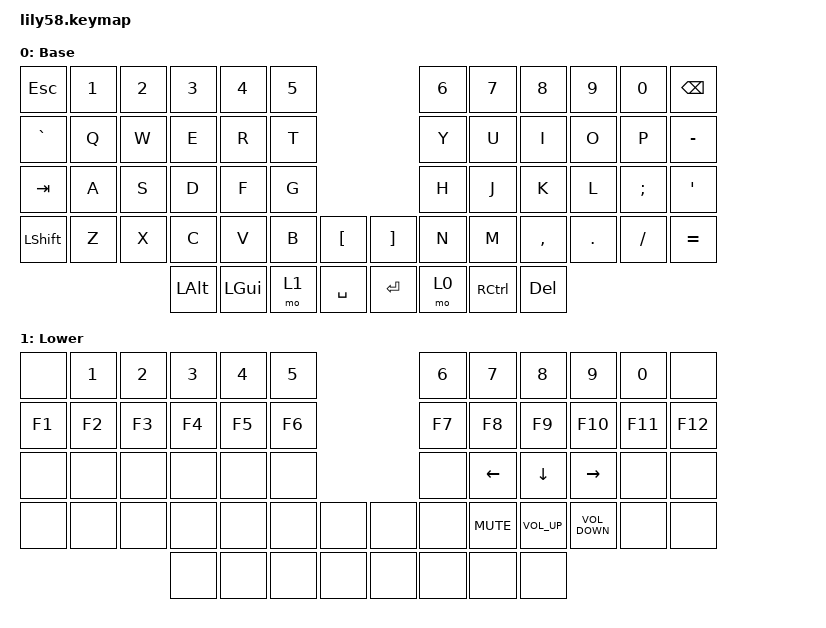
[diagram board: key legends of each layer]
/*
 * Copyright (c) 2020 The ZMK Contributors
 *
 * SPDX-License-Identifier: MIT
 */

#include <behaviors.dtsi>
#include <dt-bindings/zmk/keys.h>

/ {
    keymap {
        compatible = "zmk,keymap";

        main {
            // ------------------------------------------------------------------------------------------------------------
            // |  ESC  |  1  |  2  |  3   |  4   |  5   |                   |  6   |  7    |  8    |  9   |   0   |   `   |
            // |  TAB  |  Q  |  W  |  E   |  R   |  T   |                   |  Y   |  U    |  I    |  O   |   P   |   -   |
            // |  CTRL |  A  |  S  |  D   |  F   |  G   |                   |  H   |  J    |  K    |  L   |   ;   |   '   |
            // | SHIFT |  Z  |  X  |  C   |  V   |  B   |   "["  |  |  "]"  |  N   |  M    |  ,    |  .   |   /   | SHIFT |
            //                     | ALT  | GUI  | LOWER|  SPACE |  | ENTER | RAISE| BSPC  | GUI   |

            display-name = "Base";
            bindings = <
&kp ESC    &kp N1  &kp N2  &kp N3    &kp N4    &kp N5                         &kp N6  &kp N7     &kp N8      &kp N9   &kp N0    &kp BACKSPACE
&kp GRAVE  &kp Q   &kp W   &kp E     &kp R     &kp T                          &kp Y   &kp U      &kp I       &kp O    &kp P     &kp MINUS
&kp TAB    &kp A   &kp S   &kp D     &kp F     &kp G                          &kp H   &kp J      &kp K       &kp L    &kp SEMI  &kp SQT
&kp LSHFT  &kp Z   &kp X   &kp C     &kp V     &kp B   &kp LBKT     &kp RBKT  &kp N   &kp M      &kp COMMA   &kp DOT  &kp FSLH  &kp EQUAL
                           &kp LALT  &kp LGUI  &mo 1   &kp SPACE    &kp RET   &mo 0   &kp RCTRL  &kp DELETE
            >;
        };

        lower {
            // ------------------------------------------------------------------------------------------------------------
            // | BTCLR | BT1 | BT2 |  BT3 |  BT4 |  BT5 |                   |      |       |       |      |       |       |
            // |  F1   |  F2 |  F3 |  F4  |  F5  |  F6  |                   |  F7  |  F8   |  F9   |  F10 |  F11  |  F12  |
            // |   `   |  !  |  @  |  #   |  $   |  %   |                   |  ^   |  &    |  *    |  (   |   )   |   ~   |
            // |       |     |     |      |      |      |        |  |       |      |  _    |  +    |  {   |   }   |  "|"  |
            //                     |      |      |      |        |  |       |      |       |       |

            display-name = "Lower";
            bindings = <
&none   &kp N1  &kp N2  &kp N3  &kp N4  &kp N5                  &kp N6  &kp N7      &kp N8           &kp N9             &kp N0   &none
&kp F1  &kp F2  &kp F3  &kp F4  &kp F5  &kp F6                  &kp F7  &kp F8      &kp F9           &kp F10            &kp F11  &kp F12
&none   &none   &none   &none   &none   &none                   &none   &kp LEFT    &kp DOWN         &kp RIGHT          &none    &none
&none   &none   &none   &none   &none   &none   &none    &none  &none   &kp K_MUTE  &kp C_VOLUME_UP  &kp C_VOLUME_DOWN  &none    &none
                        &none   &none   &none   &none    &none  &none   &none       &none
            >;
        };
    };
};
